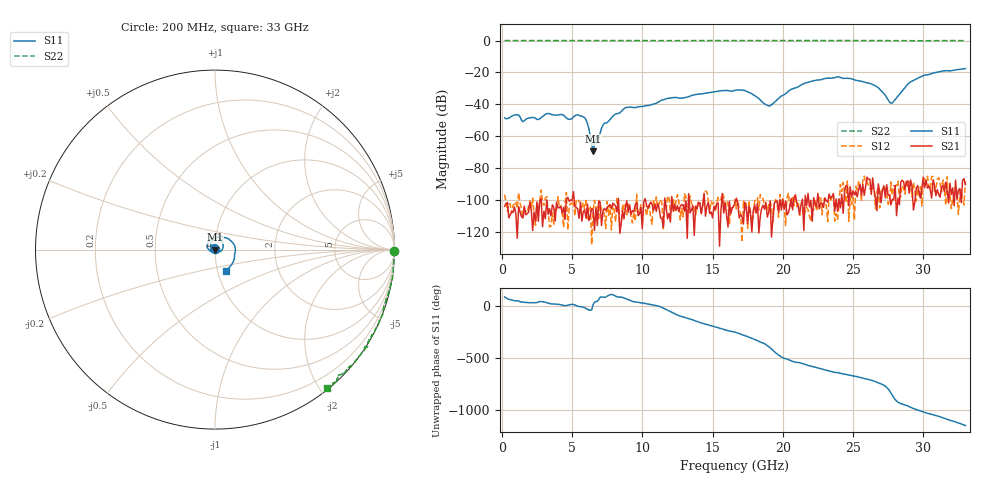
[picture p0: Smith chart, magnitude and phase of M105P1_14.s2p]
# GHZ S RI R 50
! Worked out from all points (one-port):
!   329 points, 200 MHz to 33 GHz, reference 50 ohm
!   lowest |S11| = -69.3 dB at 6.5 GHz (marker M1), VSWR 1.00, Z = 50 + j0.00478 ohm
!   |S11| at or under -10 dB: start of sweep to end of sweep
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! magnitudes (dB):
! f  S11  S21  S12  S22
! 200 MHz  -48.4  -103.9  -96.5  0.0
! 1.2 GHz  -46.7  -104.1  -95.4  0.0
! 1.5 GHz  -50.9  -111.0  -111.6  0.0
! 3.3 GHz  -45.7  -108.9  -106.0  0.0
! 4.8 GHz  -49.4  -100.8  -104.0  0.0
! 5.7 GHz  -47.5  -113.2  -104.4  0.0
! 6.1 GHz  -52.0  -102.6  -111.7  0.0
! 6.5 GHz  -69.3  -106.0  -106.1  0.0
! 6.7 GHz  -62.0  -105.0  -105.5  0.0
! 6.9 GHz  -61.3  -100.5  -111.5  0.0
! 7.2 GHz  -53.0  -107.1  -105.9  0.0
! 8 GHz  -46.6  -102.6  -106.4  0.0
! 11.2 GHz  -38.3  -105.3  -102.0  -0.1
! 16.6 GHz  -31.2  -101.8  -99.7  0.0
! 17.6 GHz  -32.5  -103.4  -101.2  0.0
! 19 GHz  -41.0  -107.6  -102.6  0.0
! 22.1 GHz  -25.4  -113.3  -106.3  0.0
! 23.9 GHz  -22.7  -106.9  -112.0  0.0
! 26.2 GHz  -26.9  -86.8  -92.9  0.0
! 27.6 GHz  -38.5  -97.1  -100.6  -0.1
! 30 GHz  -22.0  -85.6  -86.9  -0.2
! 33 GHz  -17.6  -90.3  -88.3  -0.1
